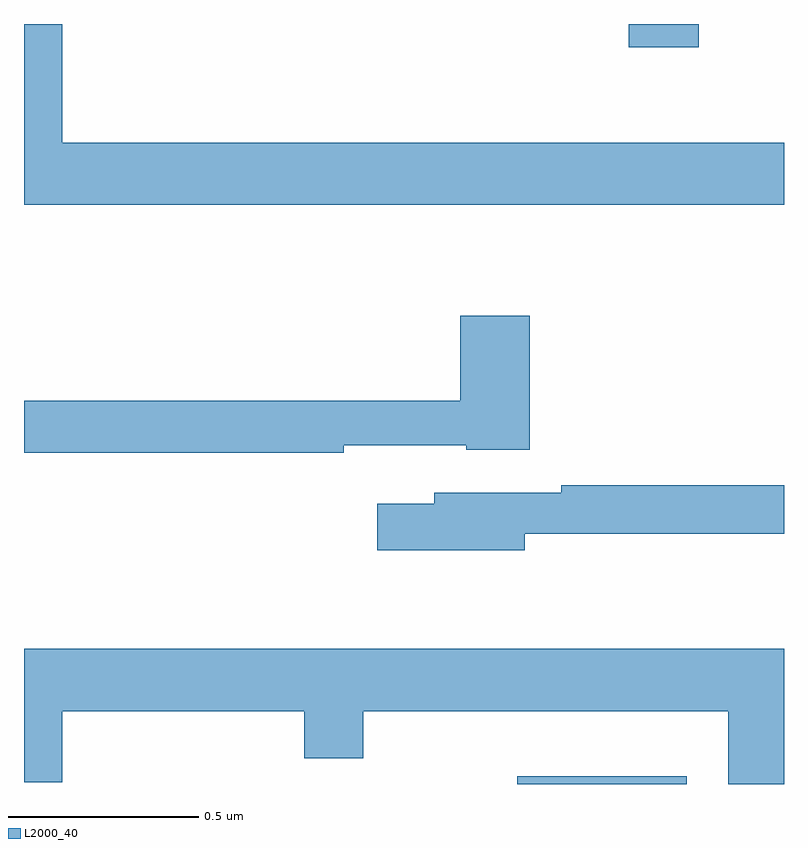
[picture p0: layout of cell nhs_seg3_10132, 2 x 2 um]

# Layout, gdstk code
import gdstk
lib = gdstk.Library(unit=1e-6, precision=1e-09)
def R(c, l, rs):  # rectangles x0, y0, x1, y1
    for r in rs: c.add(gdstk.rectangle(r[:2], r[2:], *l))
def P(c, l, *ps):  # polygons
    for p in ps: c.add(gdstk.Polygon(p, *l))
L2000_40 = (2000, 40)

nhs_seg3_10132 = lib.new_cell('nhs_seg3_10132')
R(nhs_seg3_10132, L2000_40, [(238.298,691.4,238.744,691.42), (238.592,693.339,238.775,693.4)])
P(nhs_seg3_10132, L2000_40, [(239,693.088),(237.1,693.088),(237.1,693.4),(237,693.4),(237,692.924),(239,692.924)],
  [(237.842,692.292),(238.164,692.292),(238.164,692.279),(238.331,692.279),(238.331,692.632),(238.148,692.632),(238.148,692.408),(237,692.408),(237,692.272),(237.842,692.272)],
  [(238.318,692.058),(239,692.058),(239,692.186),(238.414,692.186),(238.414,692.166),(238.079,692.166),(238.079,692.137),(237.93,692.137),(237.93,692.015),(238.318,692.015)],
  [(239,691.756),(237,691.756),(237,691.404),(237.1,691.404),(237.1,691.592),(237.737,691.592),(237.737,691.468),(237.893,691.468),(237.893,691.592),(238.853,691.592),(238.853,691.4),(239,691.4)])

lib.write_gds('nhs_seg3_10132.gds')
